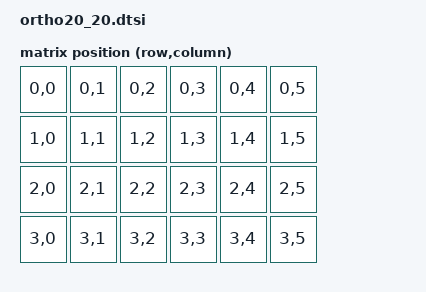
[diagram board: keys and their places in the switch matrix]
#include "ortho20_20-layouts.dtsi"
#include <dt-bindings/zmk/matrix_transform.h>

/ {
    matrix_transform0: matrix_transform0 {
        compatible = "zmk,matrix-transform";
        columns = <6>;
        rows = <4>;
        map = <
            RC(0,0) RC(0,1) RC(0,2) RC(0,3) RC(0,4) RC(0,5)
            RC(1,0) RC(1,1) RC(1,2) RC(1,3) RC(1,4) RC(1,5)
            RC(2,0) RC(2,1) RC(2,2) RC(2,3) RC(2,4) RC(2,5)
            RC(3,0) RC(3,1) RC(3,2) RC(3,3) RC(3,4) RC(3,5)
        >;
    };
};

&physical_layout_ortho20_20 {
    transform = <&matrix_transform0>;
};

